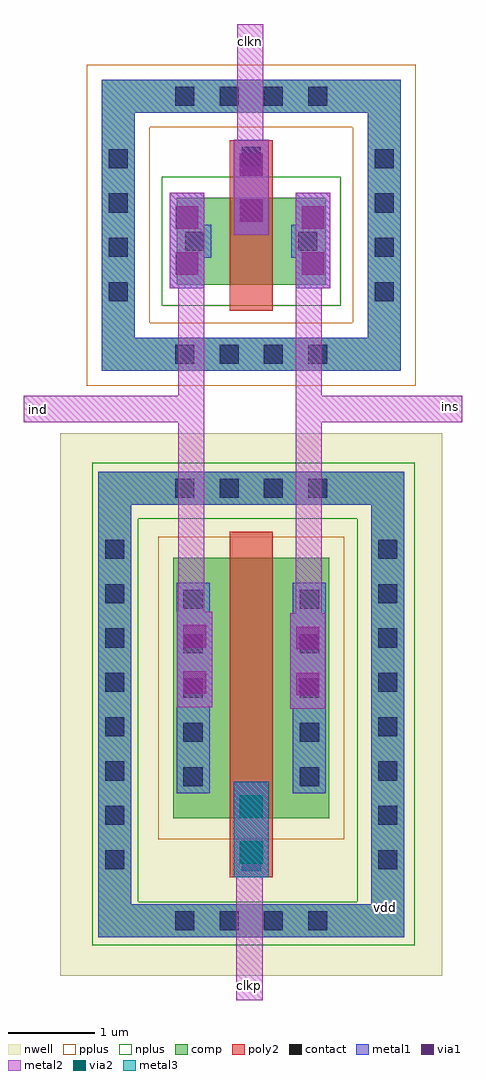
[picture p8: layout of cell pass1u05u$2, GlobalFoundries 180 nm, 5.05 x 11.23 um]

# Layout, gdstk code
import gdstk
lib = gdstk.Library(unit=1e-6, precision=5e-09)
def R(c, l, rs):  # rectangles x0, y0, x1, y1
    for r in rs: c.add(gdstk.rectangle(r[:2], r[2:], *l))
def A(c, l, x, y, w, h, nx, ny, dx, dy):  # array of equal rectangles
    R(c, l, [(x+i*dx, y+j*dy, x+i*dx+w, y+j*dy+h) for i in range(nx) for j in range(ny)])
def P(c, l, *ps):  # polygons
    for p in ps: c.add(gdstk.Polygon(p, *l))
nwell = (21, 0)
comp = (22, 0)
poly2 = (30, 0)
pplus = (31, 0)
nplus = (32, 0)
contact = (33, 0)
metal1 = (34, 0)
via1 = (35, 0)
metal2 = (36, 0)
via2 = (38, 0)
metal3 = (42, 0)

via_dev_3 = lib.new_cell('via_dev$3')
R(via_dev_3, metal1, [(0,0,0.4,1.1)])
R(via_dev_3, via1, [(0.07,0.155,0.33,0.415), (0.07,0.685,0.33,0.945)])
R(via_dev_3, metal2, [(0,0,0.4,1.1)])

via_dev_18 = lib.new_cell('via_dev$18')
R(via_dev_18, metal1, [(0,0,0.4,1.1)])
R(via_dev_18, via1, [(0.07,0.155,0.33,0.415), (0.07,0.685,0.33,0.945)])
R(via_dev_18, metal2, [(0,0,0.4,1.1)])
R(via_dev_18, via2, [(0.07,0.155,0.33,0.415), (0.07,0.685,0.33,0.945)])
R(via_dev_18, metal3, [(0,0,0.4,1.1)])

nfet_4 = lib.new_cell('nfet$4')
R(nfet_4, comp, [(-0.42,0,0,1), (0,0,0.88,1), (0.88,0,1.3,1)])
P(nfet_4, comp, [(-1.28,-1.36),(-1.28,1.61),(-0.9,1.61),(-0.9,-0.98),(1.78,-0.98),(1.78,1.61),(-1.28,1.61),(-1.28,1.99),(2.16,1.99),(2.16,-1.36)])
R(nfet_4, poly2, [(0.19,-0.66,0.69,-0.3), (0.19,-0.3,0.69,1.3)])
P(nfet_4, pplus, [(-1.45,-1.53),(-1.45,1.44),(-0.73,1.44),(-0.73,-0.81),(1.61,-0.81),(1.61,1.44),(-1.45,1.44),(-1.45,2.16),(2.33,2.16),(2.33,-1.53)])
R(nfet_4, nplus, [(-0.59,-0.24,1.47,1.24)])
A(nfet_4, contact, -0.435, -1.28, 0.22, 0.22, 4, 2, 0.51, 2.97)
A(nfet_4, contact, -1.2, -0.56, 0.22, 0.22, 1, 4, 0, 0.51)
A(nfet_4, contact, 1.86, -0.56, 0.22, 0.22, 1, 4, 0, 0.51)
R(nfet_4, contact, [(0.33,-0.59,0.55,-0.37), (-0.32,0.39,-0.1,0.61), (0.98,0.39,1.2,0.61)])
R(nfet_4, metal1, [(0.25,-0.67,0.63,-0.29), (-0.4,0.31,-0.02,0.69), (0.9,0.31,1.28,0.69)])

pfet_4 = lib.new_cell('pfet$4')
R(pfet_4, nwell, [(-1.76,-1.43,2.64,4.81)])
R(pfet_4, comp, [(-0.46,0,0,3), (0,0,0.88,3), (0.88,0,1.34,3)])
P(pfet_4, comp, [(-1.32,-0.99),(-1.32,3.99),(-0.94,3.99),(-0.94,-0.61),(1.82,-0.61),(1.82,3.99),(-1.32,3.99),(-1.32,4.37),(2.2,4.37),(2.2,-0.99)])
R(pfet_4, poly2, [(0.19,-0.3,0.69,3.3), (0.19,3.3,0.69,3.68)])
R(pfet_4, pplus, [(-0.63,-0.24,1.51,3.24)])
A(pfet_4, contact, -0.435, -0.91, 0.22, 0.22, 4, 2, 0.51, 4.98)
A(pfet_4, contact, -1.24, -0.205, 0.22, 0.22, 1, 8, 0, 0.51)
A(pfet_4, contact, 1.9, -0.205, 0.22, 0.22, 1, 8, 0, 0.51)
A(pfet_4, contact, -0.34, 0.37, 0.22, 0.22, 1, 5, 0, 0.51)
A(pfet_4, contact, 1, 0.37, 0.22, 0.22, 1, 5, 0, 0.51)
R(pfet_4, contact, [(0.33,3.38,0.55,3.6)])
R(pfet_4, metal1, [(-0.42,0.29,-0.04,2.71), (0.92,0.29,1.3,2.71), (0.25,3.3,0.63,3.68)])

pass1u05u_2 = lib.new_cell('pass1u05u$2')
R(pass1u05u_2, nplus, [(10.66,-2.495,14.37,-1.995), (13.71,-2.495,14.37,3.055), (10.66,-2.485,11.19,3.055), (10.66,2.415,14.37,3.055)])
R(pass1u05u_2, metal1, [(10.73,-2.405,11.11,2.955), (11.11,-2.405,13.87,-2.025), (13.87,-2.405,14.25,2.575), (11.11,2.575,14.25,2.955), (10.77,4.115,11.15,7.465), (11.15,4.115,13.83,4.495), (13.83,4.115,14.21,7.085), (11.15,7.085,14.21,7.465)])
pass1u05u_2.add(gdstk.FlexPath([(11.8,3.675),(9.87,3.675)], 0.3, ends="flush", simple_path=True, layer=36, datatype=0))  # metal2
pass1u05u_2.add(gdstk.FlexPath([(12.47,-1.335),(12.47,-3.125)], 0.3, ends="flush", simple_path=True, layer=36, datatype=0))  # metal2
pass1u05u_2.add(gdstk.FlexPath([(12.48,6.475),(12.48,8.105)], 0.3, ends="flush", simple_path=True, layer=36, datatype=0))  # metal2
pass1u05u_2.add(gdstk.FlexPath([(13.15,1.19),(13.15,6.165)], 0.3, ends="flush", simple_path=True, layer=36, datatype=0))  # metal2
pass1u05u_2.add(gdstk.FlexPath([(11.8,1.19),(11.8,6.165)], 0.3, ends="flush", simple_path=True, layer=36, datatype=0))  # metal2
pass1u05u_2.add(gdstk.FlexPath([(14.92,3.675),(13,3.675)], 0.3, ends="flush", simple_path=True, layer=36, datatype=0))  # metal2
pass1u05u_2.add(gdstk.Reference(via_dev_3, (12.29,6.775), x_reflection=True))
pass1u05u_2.add(gdstk.Reference(via_dev_18, (12.29,-0.615), x_reflection=True))
pass1u05u_2.add(gdstk.Reference(nfet_4, (12.05,6.105), x_reflection=True))
pass1u05u_2.add(gdstk.Reference(pfet_4, (12.05,1.965), x_reflection=True))
pass1u05u_2.add(gdstk.Reference(via_dev_3, (12.94,1.325), x_reflection=True))
pass1u05u_2.add(gdstk.Reference(via_dev_3, (11.64,1.345), x_reflection=True))
pass1u05u_2.add(gdstk.Reference(via_dev_3, (13,6.165), x_reflection=True))
pass1u05u_2.add(gdstk.Reference(via_dev_3, (11.55,6.165), x_reflection=True))
pass1u05u_2.add(gdstk.Label('vdd', (14.04,-2.065), layer=34, texttype=10))
pass1u05u_2.add(gdstk.Label('clkn', (12.48,7.905), layer=36, texttype=10))
pass1u05u_2.add(gdstk.Label('clkp', (12.47,-2.955), layer=36, texttype=10))
pass1u05u_2.add(gdstk.Label('ins', (14.78,3.705), layer=36, texttype=10))
pass1u05u_2.add(gdstk.Label('ind', (10.04,3.675), layer=36, texttype=10))

lib.write_gds('pass1u05u_2.gds')
